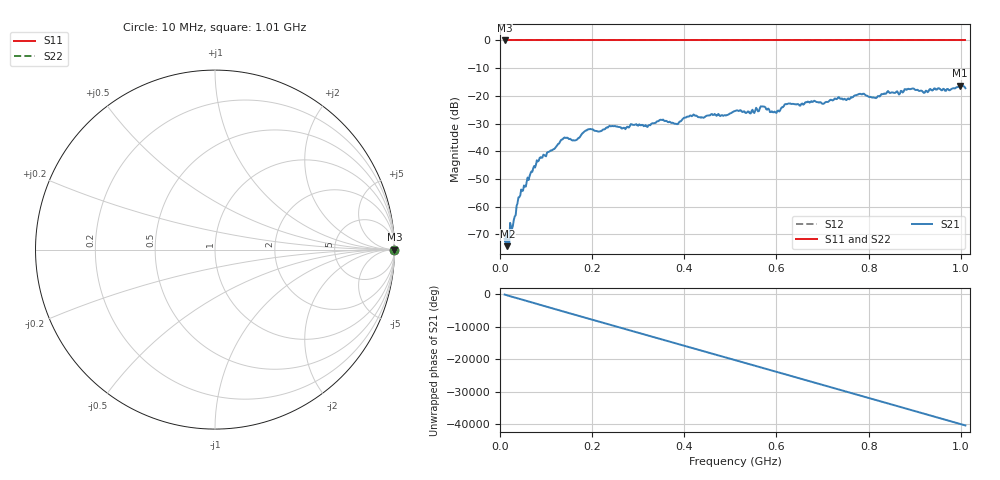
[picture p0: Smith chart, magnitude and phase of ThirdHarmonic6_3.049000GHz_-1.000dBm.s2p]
! 8/17/2025 8:51:13 AM
! C:\ANRITSUVNA\TEMP\TEMP.S2P
! CHANNEL.1
! TR.MEASUREMENT
! RAW.DATA
! RF.CORRECTION.OFF
! AVERAGING.OFF
! IF.BANDWIDTH: 5KHZ
! SWEEPTYPE:  FREQ.SWEEP(Linear)
! Reference Plane Port Info
! PORT:  PORT1  PORT2
! DISTANCE:  0  m  0  m
! TIME:  0  s  0  s
! PHASE.OFFSET:  0  deg.  0  deg.
! LOSS:  0  dB  0  dB
! REF.LOSS:  0  dB  0  dB
! REF.FREQ:  0  Hz  0  Hz
! Power Info
! POWER:  -20  dBm  -20  dBm
! EFF.POWER:  -20  dBm  -20  dBm
! SOURCE.ATTEN:  0  dB  0  dB
! TEST.ATTEN:  0  dB  0  dB
# GHZ S RI R 50.0
! FREQ.GHZ  S11RE  S11IM  S21RE  S21IM  S12RE  S12IM  S22RE  S22IM
!; PortSelection: Port_12
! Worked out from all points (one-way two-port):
!   501 points, 10 MHz to 1.01 GHz, reference 50 ohm
!   highest |S21| = -16.29 dB at 998 MHz (marker M1); lowest = -74.2 dB at 16 MHz (marker M2)
!   lowest |S11| = 0.0 dB at 10 MHz (marker M3)
!   |S11| at or under -10 dB: nowhere
!   |S22| runs from 0.0 to 0.0 dB; largest |S21 - S12| = 1.1
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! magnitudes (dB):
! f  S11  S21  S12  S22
! 10 MHz  0.0  -71.6  0.0  0.0
! 16 MHz  0.0  -74.2  0.0  0.0
! 30 MHz  0.0  -64.7  0.0  0.0
! 44 MHz  0.0  -55.9  0.0  0.0
! 84 MHz  0.0  -43.4  0.0  0.0
! 136 MHz  0.0  -35.7  0.0  0.0
! 162 MHz  0.0  -36.1  0.0  0.0
! 178 MHz  0.0  -33.7  0.0  0.0
! 344 MHz  0.0  -29.1  0.0  0.0
! 382 MHz  0.0  -30.1  0.0  0.0
! 416 MHz  0.0  -27.3  0.0  0.0
! 510 MHz  0.0  -25.5  0.0  0.0
! 548 MHz  0.0  -25.0  0.0  0.0
! 570 MHz  0.0  -23.8  0.0  0.0
! 596 MHz  0.0  -25.7  0.0  0.0
! 622 MHz  0.0  -23.0  0.0  0.0
! 678 MHz  0.0  -22.2  0.0  0.0
! 784 MHz  0.0  -19.4  0.0  0.0
! 814 MHz  0.0  -20.7  0.0  0.0
! 844 MHz  0.0  -18.7  0.0  0.0
! 998 MHz  0.0  -16.3  0.0  0.0
! 1.01 GHz  0.0  -17.2  0.0  0.0
